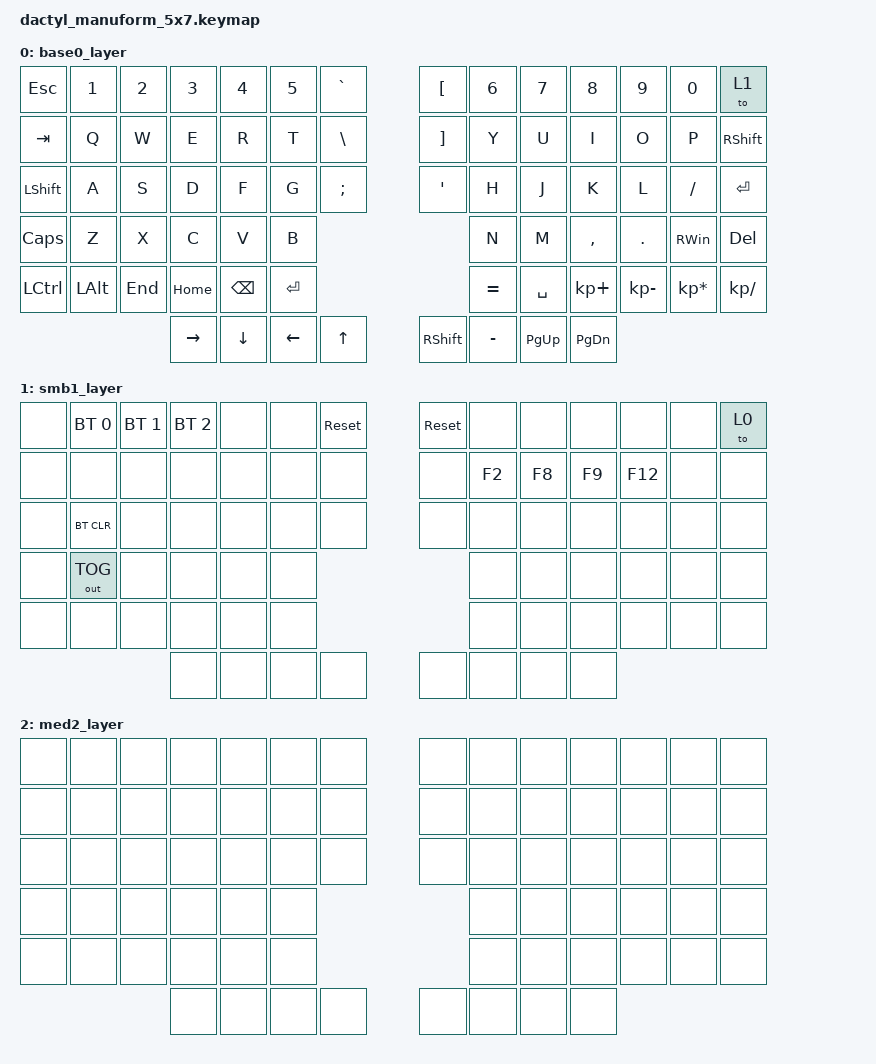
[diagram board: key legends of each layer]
#include <behaviors.dtsi>
#include <dt-bindings/zmk/keys.h>
#include <dt-bindings/zmk/bt.h>
#include <dt-bindings/zmk/ext_power.h>
#include <dt-bindings/zmk/outputs.h>
#include "keys_en_gb_extended.h"

#define ZMK_MOUSE_DEFAULT_MOVE_VAL 1500  // 600
#define ZMK_MOUSE_DEFAULT_SCRL_VAL 20    // 10

#include <dt-bindings/zmk/mouse.h>

#define BASE0 0
#define SMB1 1
#define MED2 2


/ {
    macros {
        vim_yank: vim_yank {
            label = "ZM_vim_yank";
            compatible = "zmk,behavior-macro";
            #binding-cells = <0>;
            bindings
                = <&macro_tap &kp GB_DQT &kp GB_PLUS &kp Y>
                ;
        };

        vim_paste: vim_paste {
            label = "ZM_vim_paste";
            compatible = "zmk,behavior-macro";
            #binding-cells = <0>;
            bindings
                = <&macro_tap &kp GB_DQT &kp GB_PLUS &kp P>
                ;
        };
    };
    behaviors {
        ht_tp: hold_tap_tap_preferred {
            compatible = "zmk,behavior-hold-tap";
            label = "HOLD_TAP";
            #binding-cells = <2>;
            tapping-term-ms = <200>;
            quick-tap-ms = <0>;
            flavor = "tap-preferred";
            bindings = <&kp>, <&kp>;
        };
    };
    keymap {
        compatible = "zmk,keymap";

        base0_layer {
            bindings = <
                &kp ESC  &kp N1 &kp N2 &kp N3 &kp N4 &kp N5  &kp GRAVE                       &kp LBKT &kp N6  &kp N7  &kp N8  &kp N9  &kp N0   &to 1
&kp TAB    &kp Q  &kp W    &kp E   &kp R   &kp T  &kp BSLH                   &kp RBKT &kp Y   &kp U   &kp I   &kp O   &kp P    &kp RSHIFT
&kp LSHIFT  &kp A  &kp S    &kp D    &kp F  &kp G &kp SEMI                   &kp SQT  &kp H   &kp J   &kp K   &kp L   &kp FSLH &kp ENTER
&kp CAPS &kp Z  &kp X    &kp C    &kp V     &kp B                                     &kp N   &kp M   &kp COMMA &kp DOT  &kp RWIN &kp DEL 
&kp LCTRL  &kp LALT  &kp END &kp HOME  &kp BACKSPACE  &kp ENTER                       &kp EQUAL &kp SPACE  &kp KP_PLUS  &kp KP_MINUS   &kp KP_MULTIPLY  &kp KP_DIVIDE  
&kp RIGHT &kp DOWN	&kp LEFT  &kp UP  	                                              &kp RSHIFT   &kp MINUS &kp PG_UP &kp PG_DN
            >;
        };

        smb1_layer {
            bindings = <
                &none &bt BT_SEL 0 &bt BT_SEL 1 &bt BT_SEL 2 &none &none &sys_reset                   &sys_reset  &none &none &none &none &none &to 0
    &none &none &none &none &none &none &none                                             &none       &kp F2 &kp F8 &kp F9 &kp F12 &none &none
    &none &bt BT_CLR &none &none &none &none  &none                                       &none       &none &none &none &none &none &none
    &none &out OUT_TOG &none &none &none &none                                                        &none &none &none &none &none &none 
    &none &none &none &none &none &none                                                               &none &none &none &none &none &none	
    &none &none &none &none                                                                           &none &none &none &none
            >;
        };

        med2_layer {
            bindings = <
                &none &none &none &none &none &none &none                                             &none &none &none &none &none &none &none
    &none &none &none &none &none &none &none                                             &none &none &none &none &none &none &none
    &none &none &none &none &none &none &none                                             &none &none &none &none &none &none &none
    &none &none &none &none &none &none                                                         &none &none &none &none &none &none 
    &none &none &none &none &none &none                                                         &none &none &none &none &none &none	
    &none &none &none &none                         	                                        &none &none &none &none
            >;
        };
    };
};
